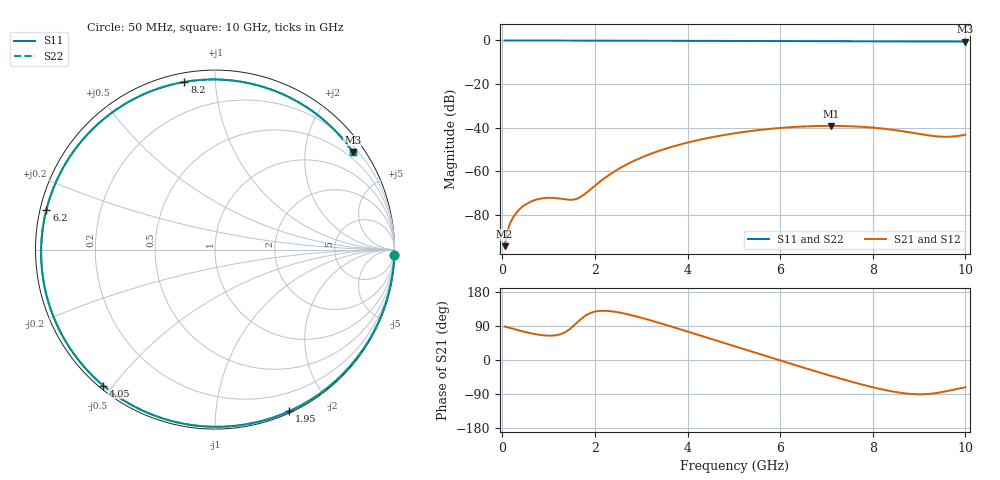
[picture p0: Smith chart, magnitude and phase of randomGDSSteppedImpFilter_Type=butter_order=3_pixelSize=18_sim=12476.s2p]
! freq	dB(S11)	phase(S11)	dB(S12)	phase(S12)
!  dB(S21)	phase(S21)	dB(S22)	phase(S22)
!S-par simulation data
#  GHz  S  DB  R 50
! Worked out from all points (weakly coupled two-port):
!   200 points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, 50 MHz to 10 GHz, reference 50 ohm
!   highest |S21| = -39.24 dB at 7.1 GHz (marker M1); lowest = -94.5 dB at 50 MHz (marker M2)
!   lowest |S11| = -0.5 dB at 10 GHz (marker M3), VSWR 32.59, Z = 16.5 + j155 ohm
!   |S11| at or under -10 dB: nowhere
!   |S22| runs from -0.5 to 0.0 dB; largest |S21 - S12| = 0
!   S11 on the Smith chart (normalised r, x): 50 MHz: 0, -66; 1.95 GHz: 0.02, -1.56; 4.05 GHz: 0.01, -0.47; 6.2 GHz: 0.02, +0.12; 8.2 GHz: 0.04, +0.83; 10 GHz: 0.33, +3.11
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0.05  -0.00 -1.7  -94.49 88.4  -94.49 88.4  -0.00 -1.7
0.25  -0.01 -8.6  -80.75 81.6  -80.75 81.6  -0.01 -8.6
0.5  -0.02 -17.2  -75.39 73.7  -75.39 73.7  -0.02 -17.2
0.8  -0.03 -27.4  -72.76 66.4  -72.76 66.4  -0.03 -27.4
1.05  -0.05 -35.8  -72.27 64.3  -72.27 64.3  -0.05 -35.8
1.5  -0.06 -50.8  -73.18 85.8  -73.18 85.8  -0.06 -50.8
1.75  -0.07 -58.9  -71.03 113.1  -71.03 113.1  -0.07 -58.9
1.95  -0.08 -65.4  -67.60 126.0  -67.60 126.0  -0.08 -65.4
2.6  -0.11 -85.9  -57.94 123.5  -57.94 123.5  -0.11 -85.8
3.4  -0.14 -110.2  -50.61 97.5  -50.61 97.5  -0.14 -110.1
4.05  -0.17 -129.4  -46.65 73.2  -46.65 73.2  -0.17 -129.4
5.05  -0.23 -158.7  -42.53 35.1  -42.53 35.1  -0.23 -158.7
5.65  -0.27 -176.5  -40.89 12.2  -40.89 12.2  -0.27 -176.5
6.2  -0.31 166.8  -39.88 -8.8  -39.88 -8.8  -0.31 166.8
6.7  -0.35 151.0  -39.36 -27.5  -39.36 -27.5  -0.35 151.1
7.1  -0.38 138.0  -39.24 -42.1  -39.24 -42.1  -0.38 138.1
7.7  -0.42 117.8  -39.59 -62.6  -39.59 -62.6  -0.42 117.9
8.2  -0.45 100.3  -40.44 -77.5  -40.44 -77.5  -0.45 100.4
8.35  -0.46 95.0  -40.81 -81.3  -40.81 -81.3  -0.46 95.0
9.15  -0.50 66.0  -43.44 -90.1  -43.44 -90.1  -0.50 66.0
9.6  -0.52 49.7  -44.26 -82.0  -44.26 -82.0  -0.52 49.7
10  -0.53 35.4  -43.29 -71.8  -43.29 -71.8  -0.53 35.4
